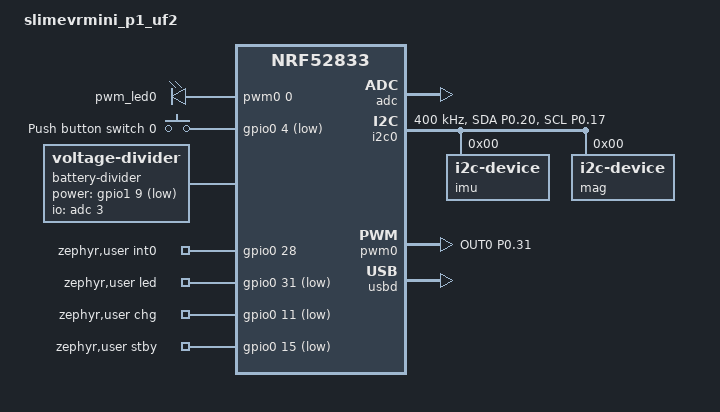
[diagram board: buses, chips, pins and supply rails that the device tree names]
// Copyright (c) 2024 Nordic Semiconductor ASA
// SPDX-License-Identifier: Apache-2.0

/dts-v1/;
#include <nordic/nrf52833_qdaa.dtsi>

//move to dtsi?
&pinctrl {
	i2c0_default: i2c0_default {
		group1 {
			psels = <NRF_PSEL(TWIM_SDA, 0, 20)>, <NRF_PSEL(TWIM_SCL, 0, 17)>;
			bias-disable;
		};
	};

	i2c0_sleep: i2c0_sleep {
		group1 {
			psels = <NRF_PSEL(TWIM_SDA, 0, 20)>, <NRF_PSEL(TWIM_SCL, 0, 17)>;
			bias-disable;
			low-power-enable;
		};
	};

	pwm0_default: pwm0_default {
		group1 {
			psels = <NRF_PSEL(PWM_OUT0, 0, 31)>;
			nordic,drive-mode = <NRF_DRIVE_D0S1>;
			nordic,invert;
		};
	};

	pwm0_sleep: pwm0_sleep {
		group1 {
			psels = <NRF_PSEL(PWM_OUT0, 0, 31)>;
			low-power-enable;
		};
	};
};
//end

/ {
	model = "slimevrmini_p1_uf2";
	compatible = "slimevrmini_p1_uf2";

	chosen {
		zephyr,sram = &sram0;
		zephyr,flash = &flash0;
		zephyr,console = &cdc_acm_uart0;
		zephyr,shell-uart = &cdc_acm_uart0;
	};

	pwmleds {
		compatible = "pwm-leds";
		pwm_led0: pwm_led_0 {
			pwms = <&pwm0 0 PWM_MSEC(1) PWM_POLARITY_INVERTED>;
		};
	};

	buttons {
		compatible = "gpio-keys";
		button0: button_0 {
			gpios = <&gpio0 4 (GPIO_PULL_UP | GPIO_ACTIVE_LOW)>;
			label = "Push button switch 0";
		};
	};

	aliases {
		sw0 = &button0;
		pwm-led0 = &pwm_led0;
	};

	battery-divider {
		compatible = "voltage-divider";
		status = "okay";
		io-channels = <&adc 3>;
		output-ohms = <40200>;
		full-ohms = <(100000+40200)>;
		power-gpios = <&gpio1 9 (GPIO_OPEN_DRAIN | GPIO_ACTIVE_LOW)>;
	};

	zephyr,user {
		int0-gpios = <&gpio0 28 0>;
		led-gpios = <&gpio0 31 (GPIO_OPEN_DRAIN | GPIO_ACTIVE_LOW)>;
		chg-gpios = <&gpio0 11 (GPIO_ACTIVE_LOW | GPIO_PULL_UP)>;
		stby-gpios = <&gpio0 15 (GPIO_ACTIVE_LOW | GPIO_PULL_UP)>;
	};

};

&reg1 {
	regulator-initial-mode = <NRF5X_REG_MODE_DCDC>;
};

&adc {
	status = "okay";
};

&gpiote {
	status = "okay";
};

&gpio0 {
	status = "okay";
};

&gpio1 {
	status = "okay";
};

&i2c0 {
	compatible = "nordic,nrf-twim";
	status = "okay";
	zephyr,concat-buf-size = <255>; // probable max for nrf52832
	zephyr,flash-buf-max-size = <255>; // probable max for nrf52832
	clock-frequency = <I2C_BITRATE_FAST>;
	pinctrl-0 = <&i2c0_default>;
	pinctrl-1 = <&i2c0_sleep>;
	pinctrl-names = "default", "sleep";

	imu: imu@0 { // any address out of range (00, 7f, etc. will search all addresses and stored address first if available, specify an address here to search first otherwise
		compatible = "i2c-device";
		label = "imu";
		reg = <0>;
	};

	mag: mag@0 {
		compatible = "i2c-device";
		label = "mag";
		reg = <0>;
	};

};

&pwm0 {
	status = "okay";
	pinctrl-0 = <&pwm0_default>;
	pinctrl-1 = <&pwm0_sleep>;
	pinctrl-names = "default", "sleep";
};

zephyr_udc0: &usbd {
	compatible = "nordic,nrf-usbd";
	status = "okay";
	cdc_acm_uart0: cdc_acm_uart0 {
		compatible = "zephyr,cdc-acm-uart";
	};
};

&nfct {
	status = "disabled";
};
